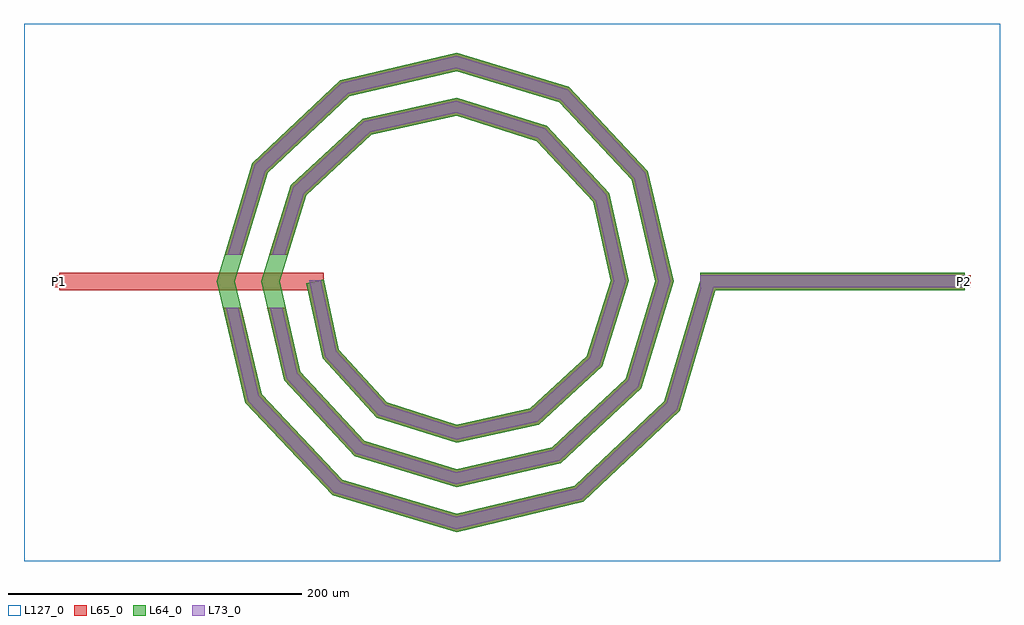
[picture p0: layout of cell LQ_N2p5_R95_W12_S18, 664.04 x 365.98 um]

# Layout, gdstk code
import gdstk
lib = gdstk.Library(unit=1e-6, precision=1e-09)
def R(c, l, rs):  # rectangles x0, y0, x1, y1
    for r in rs: c.add(gdstk.rectangle(r[:2], r[2:], *l))
def P(c, l, *ps):  # polygons
    for p in ps: c.add(gdstk.Polygon(p, *l))
L64_0 = (64, 0)
L65_0 = (65, 0)
L73_0 = (73, 0)
L127_0 = (127, 0)

lq_n2p5_r95_w12_s18 = lib.new_cell('LQ_N2p5_R95_W12_S18')
R(lq_n2p5_r95_w12_s18, L64_0, [(165.952,-6,345.952,6)])
P(lq_n2p5_r95_w12_s18, L64_0, [(-79.884,-46.464),(-47.22,-82.367),(0.282,-97.471),(50.238,-86.464),(88.926,-51.03),(105.056,0.263),(93.042,54.015),(54.838,95.487),(0.246,112.641),(-57.794,99.619),(-102.048,58.645),(-120.227,0.232),(-106.196,-61.575),(-62.449,-108.611),(0.219,-127.813),(65.356,-112.772),(115.174,-66.253),(135.398,0.207),(119.347,69.14),(70.055,121.738),(0.196,142.984),(-72.924,125.921),(-128.303,73.856),(-150.57,0.187),(-132.496,-76.709),(-77.657,-134.868),(0.178,-158.156),(80.494,-139.069),(141.433,-81.457),(166.201,1.712),(177.702,-1.712),(152.016,-87.966),(86.4,-150),(0.178,-170.575),(-84.18,-145.442),(-143.434,-82.599),(-162.989,0.187),(-138.867,80.394),(-78.798,136.869),(0.196,155.402),(76.61,132.292),(130.304,74.996),(147.816,0.207),(125.717,-72.826),(71.193,-123.74),(0.219,-140.229),(-69.043,-119.141),(-117.176,-67.389),(-132.643,0.232),(-112.564,65.262),(-63.584,110.613),(0.246,125.056),(61.482,105.986),(104.051,59.776),(117.47,0.263),(99.407,-57.704),(55.967,-97.489),(0.282,-109.883),(-53.928,-92.826),(-90.929,-52.155),(-101.955,-1.271),(-90.227,1.271)])
R(lq_n2p5_r95_w12_s18, L65_0, [(-270.091,-6,-90.091,6), (165.952,-6,345.952,6), (-274.091,-4,-266.091,4), (341.952,-4,349.952,4)])
P(lq_n2p5_r95_w12_s18, L65_0, [(-132.496,-76.709),(-77.657,-134.868),(0.178,-158.156),(80.494,-139.069),(141.433,-81.457),(166.201,1.713),(177.702,-1.713),(152.016,-87.966),(86.4,-150),(0.178,-170.575),(-84.18,-145.442),(-143.434,-82.599),(-158.693,-18),(-146.363,-18)],
  [(-106.196,-61.575),(-62.449,-108.611),(0.219,-127.813),(65.357,-112.772),(115.174,-66.253),(135.399,0.207),(119.347,69.14),(70.055,121.738),(0.196,142.984),(-72.924,125.921),(-128.303,73.856),(-145.101,18),(-157.632,18),(-138.867,80.395),(-78.798,136.869),(0.196,155.402),(76.61,132.293),(130.304,74.996),(147.816,0.207),(125.717,-72.826),(71.193,-123.74),(0.219,-140.23),(-69.043,-119.141),(-117.176,-67.389),(-128.473,-18),(-116.163,-18)],
  [(-47.22,-82.367),(0.283,-97.471),(50.238,-86.464),(88.926,-51.03),(105.056,0.263),(93.042,54.015),(54.838,95.487),(0.247,112.642),(-57.794,99.62),(-102.048,58.645),(-114.598,18),(-127.157,18),(-112.564,65.262),(-63.584,110.613),(0.247,125.056),(61.482,105.986),(104.051,59.776),(117.47,0.263),(99.407,-57.704),(55.967,-97.489),(0.283,-109.883),(-53.928,-92.826),(-90.93,-52.155),(-101.955,-1.271),(-90.227,1.271),(-79.884,-46.464)])
R(lq_n2p5_r95_w12_s18, L73_0, [(165.952,-4,345.952,4)])
P(lq_n2p5_r95_w12_s18, L73_0, [(-134.319,-77.691),(-78.744,-136.63),(0.119,-160.226),(81.479,-140.891),(143.197,-82.542),(168.118,1.142),(175.785,-1.142),(150.252,-86.881),(85.416,-148.178),(0.119,-168.505),(-83.093,-143.68),(-141.611,-81.618),(-156.638,-18),(-148.418,-18)],
  [(-108.026,-62.544),(-63.548,-110.366),(0.146,-129.882),(66.329,-114.6),(116.931,-67.348),(137.468,0.138),(121.173,70.116),(71.147,123.497),(0.131,145.054),(-73.903,127.746),(-130.064,74.946),(-147.189,18),(-155.543,18),(-137.107,79.305),(-77.819,135.044),(0.131,153.333),(75.517,130.533),(128.478,74.02),(145.746,0.138),(123.96,-71.73),(70.221,-121.912),(0.146,-138.16),(-67.944,-117.386),(-115.346,-66.42),(-126.421,-18),(-118.215,-18)],
  [(-48.338,-84.11),(0.188,-99.539),(51.193,-88.301),(90.673,-52.143),(107.125,0.176),(94.877,54.975),(55.946,97.236),(0.164,114.711),(-58.759,101.452),(-103.801,59.747),(-116.691,18),(-125.064,18),(-110.811,64.159),(-62.619,108.781),(0.164,122.987),(60.375,104.236),(102.216,58.816),(115.401,0.176),(97.66,-56.592),(55.012,-95.652),(0.188,-107.814),(-52.81,-91.083),(-89.089,-51.207),(-100,0.847),(-92.181,0.847),(-81.725,-47.413)])
R(lq_n2p5_r95_w12_s18, L127_0, [(-294.091,-190.575,369.952,175.402)])
lq_n2p5_r95_w12_s18.add(gdstk.Label('P2', (345.952,0), layer=65, texttype=0))
lq_n2p5_r95_w12_s18.add(gdstk.Label('P1', (-270.091,0), layer=65, texttype=0))
lq_n2p5_r95_w12_s18.add(gdstk.Label('P2', (349.952,0), layer=145, texttype=0))
lq_n2p5_r95_w12_s18.add(gdstk.Label('P1', (-274.091,0), layer=145, texttype=0))

lib.write_gds('LQ_N2p5_R95_W12_S18.gds')
